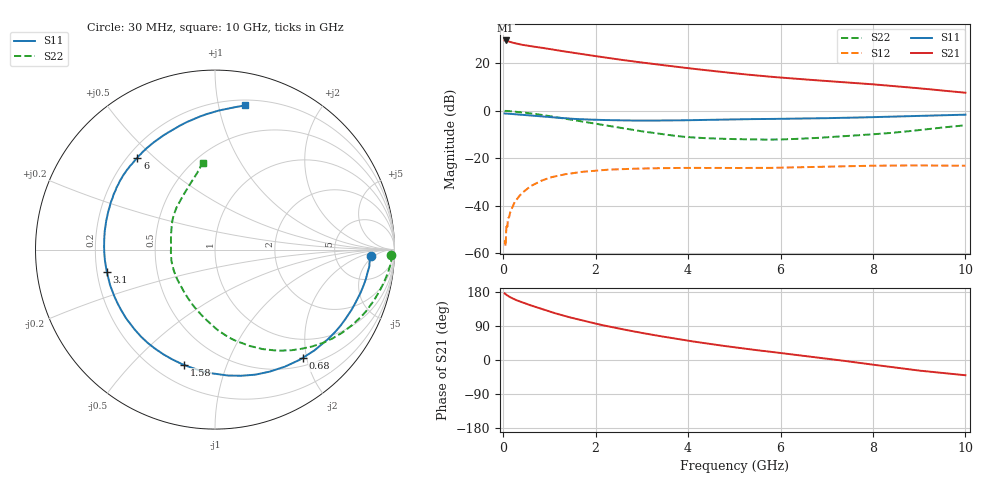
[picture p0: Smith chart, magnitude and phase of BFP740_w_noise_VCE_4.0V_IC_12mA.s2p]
! Infineon Technologies  Discrete & RF Semiconductors
! BFP740
! VCE =  4.0 V,  IC =  12 mA
! Common Emitter S-Parameters:  Jan 2016
# GHz  S  MA  R  50
!  f  S11  S21  S12  S22
! GHz  MAG  ANG  MAG  ANG  MAG  ANG  MAG  ANG
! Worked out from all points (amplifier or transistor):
!   229 points, 30 MHz to 10 GHz, reference 50 ohm
!   highest |S21| = 29.5 dB at 50 MHz (marker M1)
!   |S21| within 3 dB of that: start of sweep to 803 MHz
!   unconditionally stable (mu >= 1): 7.01 GHz to end of sweep
!   at 280 MHz: K = 0.22, MSG = 33.0 dB, |S12| = -37.7 dB
!   at 1.78 GHz: K = 0.35, MSG = 24.6 dB, |S12| = -25.6 dB
!   at 10 GHz: K = 1.05, MAG = 14.0 dB, |S12| = -23.2 dB
!   lowest NFmin = 0.54 dB at 450 MHz
!   S11 on the Smith chart (normalised r, x): 30 MHz: 13, -4; 680 MHz: 0.64, -1.93; 1.58 GHz: 0.31, -0.72; 3.1 GHz: 0.24, -0.10; 6 GHz: 0.24, +0.44; 10 GHz: 0.24, +1.20
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0.03  0.8678 -2.4  29.88 175.8  0.0016 68.9  0.9835 -1.6
0.05  0.8654 -4.2  29.9 174.1  0.0014 48.7  0.9828 -2.8
0.07  0.865 -6.0  29.49 172.0  0.0041 87.1  0.9833 -4.0
0.13  0.8569 -10.9  28.3 167.0  0.0058 81.4  0.9728 -7.3
0.26  0.8365 -20.9  26.08 159.2  0.0123 76.2  0.9472 -13.7
0.44  0.8123 -34.0  23.96 150.9  0.0195 69.9  0.9105 -21.9
0.68  0.7767 -50.9  22.03 140.7  0.0285 61.6  0.8517 -32.2
0.9  0.7451 -65.8  20.53 131.7  0.0355 54.2  0.7934 -41.0
1.1  0.7178 -78.3  19.09 124.2  0.0408 48.4  0.7373 -48.4
1.32  0.6902 -91.0  17.6 116.5  0.0453 42.5  0.6805 -55.7
1.58  0.6649 -105.1  16.1 108.2  0.0497 36.5  0.6188 -63.8
1.7  0.6563 -111.3  15.46 104.5  0.0512 34.2  0.5905 -67.3
2.1  0.6366 -130.2  13.53 93.2  0.0556 27.2  0.5097 -78.9
2.32  0.6274 -139.4  12.6 87.5  0.0572 23.6  0.4705 -84.6
3.1  0.6156 -168.2  9.975 69.3  0.0607 14.1  0.3547 -105.7
3.4  0.617 -178.2  9.187 62.9  0.0614 11.0  0.3222 -114.9
4.1  0.6288 162.6  7.615 49.1  0.0624 5.1  0.2721 -137.7
5.1  0.6553 142.5  5.956 32.0  0.0619 -0.5  0.2503 -166.1
6  0.6699 130.2  4.955 18.5  0.0629 -3.1  0.2469 172.7
6.8  0.6879 119.9  4.325 6.6  0.0654 -6.2  0.266 155.9
8.4  0.7461 96.5  3.314 -18.7  0.0697 -14.8  0.3392 123.7
10  0.8201 78.3  2.373 -40.2  0.0689 -22.2  0.4898 98.0
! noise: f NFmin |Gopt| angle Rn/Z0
0.45  0.54  0.16  4  0.16
0.9  0.55  0.16  11  0.16
1.5  0.57  0.15  22  0.15
1.9  0.6  0.15  39  0.15
2.4  0.63  0.15  46  0.14
3.5  0.73  0.13  57  0.13
5.5  0.9  0.16  211  0.12
10  1.33  0.5  -72  0.16
